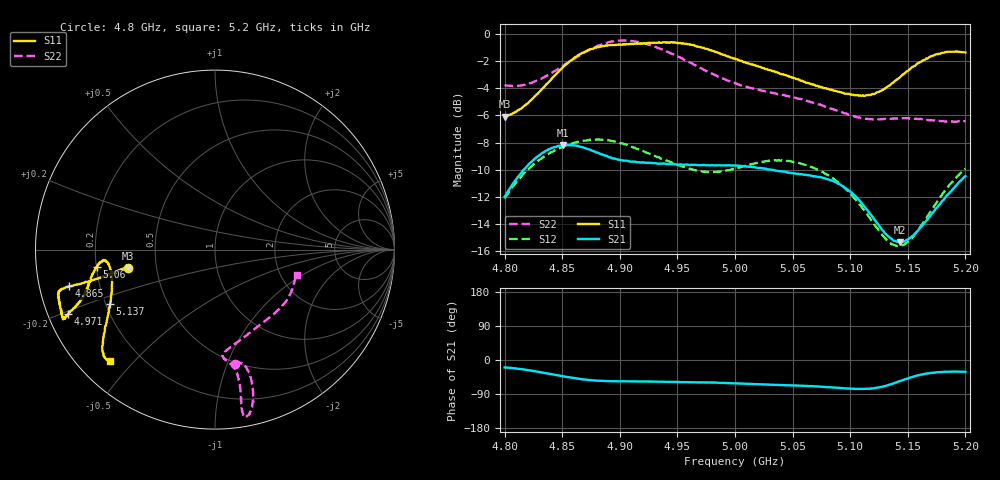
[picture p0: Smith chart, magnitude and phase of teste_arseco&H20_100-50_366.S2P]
! Network Analyzer HP8722D
! Hewlett-Packard
! Data name: Linha & Wilkinson
! Saver's name: Rodrigo Anjos
! Comments: Teste da utilização de aquisição
! continua pelo VNA HP8722D
! Time and date: 6/5/2025 15:37
!  Frequency  S11  S21  S12  S22
# HZ  S  MA R 50
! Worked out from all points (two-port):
!   401 points, 4.8 GHz to 5.2 GHz, reference 50 ohm
!   highest |S21| = -8.17 dB at 4.851 GHz (marker M1); lowest = -15.3 dB at 5.143 GHz (marker M2)
!   |S21| within 3 dB of the highest: 4.806 GHz to 5.093 GHz (286.6 MHz wide, 5.79 % of centre); 5.191869 GHz to end of sweep
!   lowest |S11| = -6.1 dB at 4.8 GHz (marker M3), VSWR 2.97, Z = 17 - j4.59 ohm
!   |S11| at or under -10 dB: nowhere
!   |S22| runs from -6.5 to -0.5 dB; largest |S21 - S12| = 0.62
!   S11 on the Smith chart (normalised r, x): 4.8 GHz: 0.34, -0.09; 4.865 GHz: 0.09, -0.12; 4.971 GHz: 0.06, -0.21; 5.06 GHz: 0.20, -0.07; 5.137 GHz: 0.22, -0.23; 5.2 GHz: 0.09, -0.43
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4.8e9  0.496 -168.2  0.2514 -19.6  0.2482 -140.7  0.6485 -80.3
4.823e9  0.5695 -167.5  0.3375 -27.9  0.3248 -143.7  0.6594 -76.0
4.851e9  0.7555 -165.8  0.3905 -43.2  0.385 -149.0  0.7635 -74.5
4.865e9  0.8393 -166.0  0.385 -49.7  0.4015 -151.5  0.8322 -75.2
4.867e9  0.8495 -165.7  0.3838 -50.7  0.4032 -151.9  0.8429 -75.4
4.883e9  0.8971 -165.1  0.3618 -54.9  0.4086 -154.6  0.9094 -77.1
4.9e9  0.9135 -162.7  0.344 -56.3  0.3963 -156.3  0.9438 -79.1
4.934e9  0.9303 -156.3  0.3327 -57.3  0.3517 -155.6  0.8841 -80.4
4.971e9  0.8915 -156.4  0.3288 -59.2  0.3118 -146.5  0.7465 -79.6
5e9  0.8093 -158.8  0.3277 -61.8  0.3198 -137.1  0.6581 -81.2
5.035e9  0.7246 -165.3  0.3144 -65.6  0.3427 -134.2  0.6043 -85.6
5.06e9  0.6671 -171.6  0.3031 -68.1  0.3305 -135.9  0.5711 -84.4
5.067e9  0.6507 -172.9  0.3008 -69.0  0.3235 -136.5  0.5594 -82.7
5.087e9  0.6171 -174.3  0.2849 -73.0  0.2898 -138.4  0.5251 -74.9
5.103e9  0.5955 -171.4  0.256 -76.0  0.2505 -138.6  0.4983 -65.4
5.116e9  0.5965 -165.6  0.2218 -76.0  0.2132 -135.5  0.4862 -55.8
5.134e9  0.6449 -154.2  0.1785 -65.3  0.1711 -120.9  0.4867 -43.2
5.137e9  0.6595 -152.5  0.1743 -62.4  0.1682 -116.9  0.4884 -41.6
5.143e9  0.6906 -149.3  0.1714 -55.8  0.166 -109.1  0.4893 -38.0
5.154e9  0.7547 -144.3  0.1804 -44.5  0.1784 -95.1  0.4884 -32.3
5.171e9  0.8284 -139.4  0.2184 -33.9  0.2257 -81.7  0.4808 -24.8
5.2e9  0.8532 -133.5  0.2997 -31.3  0.319 -76.8  0.4773 -17.6
